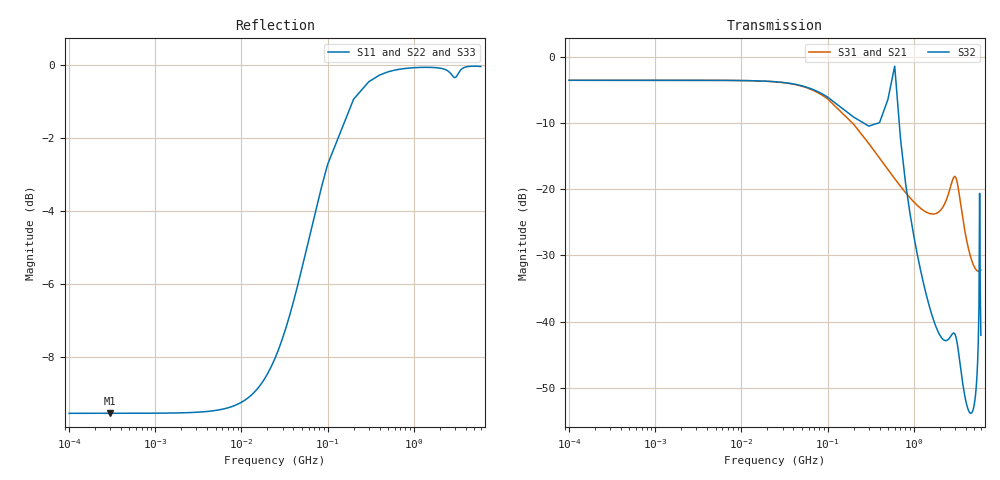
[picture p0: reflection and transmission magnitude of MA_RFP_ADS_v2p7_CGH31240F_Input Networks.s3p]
! AWR Design Environment (8379) Tue Nov 21 13:04:51 2017
! Document = 'Input Networks'
! nPorts: 3, nXvals: 1060
# HZ S MA R 50
!Freq MagS11 AngS11 MagS12 AngS12 MagS13 AngS13
!	MagS21 AngS21 MagS22 AngS22 MagS23 AngS23
!	MagS31 AngS31 MagS32 AngS32 MagS33 AngS33
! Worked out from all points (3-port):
!   1059 points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, 100 kHz to 6 GHz, reference 50 ohm
!   strongest paths, dB at 100 kHz, 26.5 MHz, 53 MHz, 79.5 MHz, 6 GHz:
!     S32: -3.5, -3.8, -4.4, -5.3, -42.1
!     S31: -3.5, -3.8, -4.5, -5.5, -32.2
!     S21: -3.5, -3.8, -4.5, -5.5, -32.2
!   lowest |S11| = -9.5 dB at 300 kHz (marker M1), VSWR 2.00, Z = 25 - j0.105 ohm
!   |S11| at or under -10 dB: nowhere
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100000  0.3333 -179.9  0.6666 -0.1  0.6666 -0.1
        0.6666 -0.1  0.3332 -179.9  0.6666 -0.1
        0.6666 -0.1  0.6666 -0.1  0.3332 -179.9
300000  0.3333 -179.7  0.6666 -0.2  0.6666 -0.2
        0.6666 -0.2  0.3332 -179.7  0.6666 -0.2
        0.6666 -0.2  0.6666 -0.2  0.3332 -179.7
2.45e7  0.3965 -158.7  0.6491 -13.5  0.6491 -13.5
        0.6491 -13.5  0.3943 -158.8  0.6502 -13.7
        0.6491 -13.5  0.6502 -13.7  0.3943 -158.8
4e8  0.9688 -179.2  0.1722 -80.1  0.1722 -80.1
     0.1722 -80.1  0.9288 179.9  0.3188 -87.8
     0.1722 -80.1  0.3188 -87.8  0.9288 179.9
1.3e9  0.9927 151.5  0.06903 -102.2  0.06903 -102.2
       0.06903 -102.2  0.9973 -174.6  0.01928 88.6
       0.06903 -102.2  0.01928 88.6  0.9973 -174.6
2.2e9  0.9879 110.5  0.07436 -124.7  0.07436 -124.7
       0.07436 -124.7  0.9972 -179.2  0.007302 68.5
       0.07436 -124.7  0.007302 68.5  0.9972 -179.2
2.8e9  0.9671 30.9  0.1164 -165.3  0.1164 -165.3
       0.1164 -165.3  0.9931 179.2  0.00808 30.6
       0.1164 -165.3  0.00808 30.6  0.9931 179.2
3.5e9  0.9844 -136.4  0.0767 111.2  0.0767 111.2
       0.0767 111.2  0.997 178.0  0.004391 -49.1
       0.0767 111.2  0.004391 -49.1  0.997 178.0
4.2e9  0.995 166.6  0.03816 81.8  0.03816 81.8
       0.03816 81.8  0.9992 176.5  0.002236 -74.3
       0.03816 81.8  0.002236 -74.3  0.9992 176.5
6e9  0.9953 91.9  0.02454 42.6  0.02454 42.6
     0.02454 42.6  0.9994 173.9  0.007873 83.8
     0.02454 42.6  0.007873 83.8  0.9994 173.9
